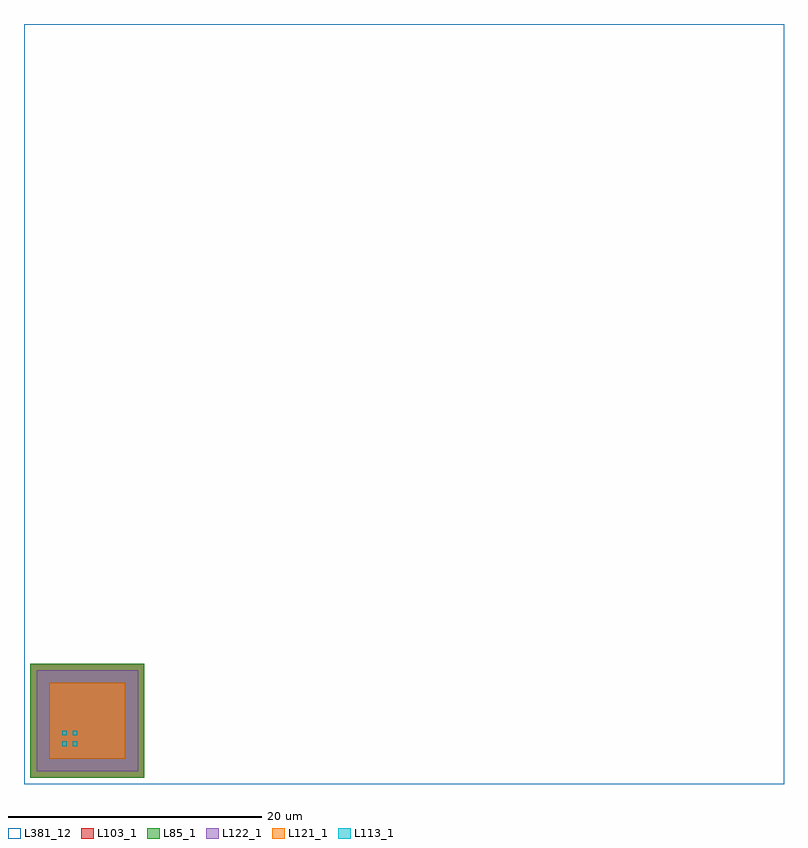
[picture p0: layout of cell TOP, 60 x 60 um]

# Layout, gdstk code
import gdstk
lib = gdstk.Library(unit=1e-6, precision=1e-09)
def R(c, l, rs):  # rectangles x0, y0, x1, y1
    for r in rs: c.add(gdstk.rectangle(r[:2], r[2:], *l))
L85_1 = (85, 1)
L103_1 = (103, 1)
L113_1 = (113, 1)
L121_1 = (121, 1)
L122_1 = (122, 1)
L381_12 = (381, 12)

top = lib.new_cell('TOP')
R(top, L85_1, [(0.5,0.5,9.5,9.5)])
R(top, L103_1, [(0.5,0.5,9.5,9.5)])
R(top, L113_1, [(3,3,3.36,3.36), (3.86,3,4.22,3.36), (3,3.86,3.36,4.22), (3.86,3.86,4.22,4.22)])
R(top, L121_1, [(2,2,8,8)])
R(top, L122_1, [(1,1,9,9)])
R(top, L381_12, [(0,0,60,60)])

lib.write_gds('TOP.gds')
